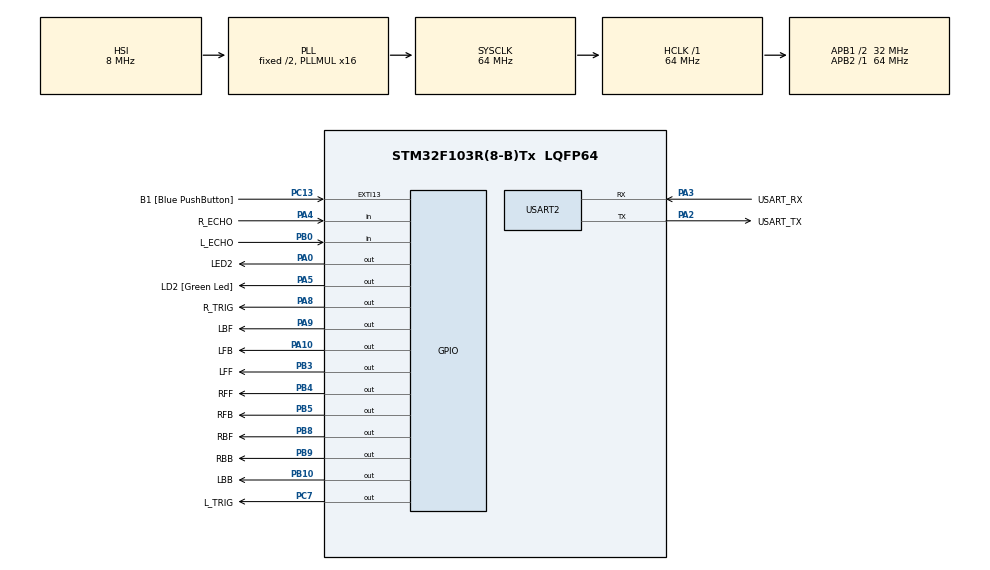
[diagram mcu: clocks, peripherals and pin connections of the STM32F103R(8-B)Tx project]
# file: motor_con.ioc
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Mcu.Family=STM32F1
Mcu.Name=STM32F103R(8-B)Tx
Mcu.Package=LQFP64
NVIC.EXTI15_10_IRQn=true\:0\:0\:false\:false\:true\:true\:true\:true
NVIC.PriorityGroup=NVIC_PRIORITYGROUP_4
PA0-WKUP.GPIO_Label=LED2
PA0-WKUP.Signal=GPIO_Output
PA10.GPIO_Label=LFB
PA10.Signal=GPIO_Output
PA13.GPIO_Label=TMS
PA13.Mode=Serial_Wire
PA13.Signal=SYS_JTMS-SWDIO
PA14.GPIO_Label=TCK
PA14.Mode=Serial_Wire
PA14.Signal=SYS_JTCK-SWCLK
PA2.GPIO_Label=USART_TX
PA2.GPIO_Mode=GPIO_MODE_AF_PP
PA2.GPIO_PuPd=GPIO_NOPULL
PA2.GPIO_Speed=GPIO_SPEED_FREQ_LOW
PA2.Mode=Asynchronous
PA2.Signal=USART2_TX
PA3.GPIO_Label=USART_RX
PA3.GPIO_Mode=GPIO_MODE_AF_PP
PA3.GPIO_PuPd=GPIO_NOPULL
PA3.GPIO_Speed=GPIO_SPEED_FREQ_LOW
PA3.Mode=Asynchronous
PA3.Signal=USART2_RX
PA4.GPIO_Label=R_ECHO
PA4.Signal=GPIO_Input
PA5.GPIO_Label=LD2 [Green Led]
PA5.GPIO_ModeDefaultOutputPP=GPIO_MODE_OUTPUT_PP
PA5.GPIO_PuPd=GPIO_NOPULL
PA5.GPIO_Speed=GPIO_SPEED_FREQ_LOW
PA5.Signal=GPIO_Output
PA8.GPIO_Label=R_TRIG
PA8.Signal=GPIO_Output
PA9.GPIO_Label=LBF
PA9.Signal=GPIO_Output
PB0.GPIO_Label=L_ECHO
PB0.Signal=GPIO_Input
PB10.GPIO_Label=LBB
PB10.Signal=GPIO_Output
PB3.GPIO_Label=LFF
PB3.Signal=GPIO_Output
PB4.GPIO_Label=RFF
PB4.Signal=GPIO_Output
PB5.GPIO_Label=RFB
PB5.Signal=GPIO_Output
PB8.GPIO_Label=RBF
PB8.Signal=GPIO_Output
PB9.GPIO_Label=RBB
PB9.Signal=GPIO_Output
PC13-TAMPER-RTC.GPIO_Label=B1 [Blue PushButton]
PC13-TAMPER-RTC.GPIO_PuPd=GPIO_NOPULL
PC13-TAMPER-RTC.Signal=GPXTI13
PC14-OSC32_IN.Signal=RCC_OSC32_IN
PC15-OSC32_OUT.Signal=RCC_OSC32_OUT
PC7.GPIO_Label=L_TRIG
PC7.Signal=GPIO_Output
PD0-OSC_IN.Signal=RCC_OSC_IN
PD1-OSC_OUT.Signal=RCC_OSC_OUT
ProjectManager.HeapSize=0x200
ProjectManager.StackSize=0x400
ProjectManager.TargetToolchain=STM32CubeIDE
RCC.AHBFreq_Value=64000000
RCC.APB1CLKDivider=RCC_HCLK_DIV2
RCC.APB1Freq_Value=32000000
RCC.APB1TimFreq_Value=64000000
RCC.APB2Freq_Value=64000000
RCC.APB2TimFreq_Value=64000000
RCC.HCLKFreq_Value=64000000
RCC.PLLMUL=RCC_PLL_MUL16
RCC.RTCClockSelection=RCC_RTCCLKSOURCE_LSE
RCC.SYSCLKFreq_VALUE=64000000
RCC.SYSCLKSource=RCC_SYSCLKSOURCE_PLLCLK
RCC.USBFreq_Value=64000000
TIM1.Prescaler=64-1
USART2.VirtualMode=VM_ASYNC
VP_TIM1_VS_ClockSourceINT.Mode=Internal
board=NUCLEO-F103RB

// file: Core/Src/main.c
/* USER CODE BEGIN Header */
/**
  ******************************************************************************
  * @file           : main.c
  * @brief          : Main program body
  ******************************************************************************
  * @attention
  *
  * Copyright (c) 2025 STMicroelectronics.
  * All rights reserved.
  *
  * This software is licensed under terms that can be found in the LICENSE file
  * in the root directory of this software component.
  * If no LICENSE file comes with this software, it is provided AS-IS.
  *
  ******************************************************************************
  */
/* USER CODE END Header */
#include "main.h"

TIM_HandleTypeDef htim1;

UART_HandleTypeDef huart2;

/* USER CODE BEGIN PV */
int stack[10];
uint8_t transmit[256];
uint8_t receive;
int L_echo_time = 0;
int R_echo_time = 0;
int L_dist = 0;
int R_dist = 0;
int HIGH = 1;
int LOW = 0;
/* USER CODE END PV */

void SystemClock_Config(void);
static void MX_GPIO_Init(void);
static void MX_USART2_UART_Init(void);
static void MX_TIM1_Init(void);

/* USER CODE BEGIN 0 */
#ifdef __GNUC__
#define PUTCHAR_PROTOTYPE int __io_putchar(int ch)
#else
#define PUTCHAR_PROTOTYPE int fputc(int ch, FILE *f)
#endif

PUTCHAR_PROTOTYPE
{
	if(ch == '\n')
		HAL_UART_Transmit(&huart2, (uint8_t *)"\r", 1, 0xFFFF);
		HAL_UART_Transmit(&huart2, (uint8_t *)&ch, 1, 0xFFFF);

		return ch;
}

void smartcar_F(void)
{
	HAL_GPIO_WritePin(LFB_GPIO_Port, LFB_Pin, 0);
	HAL_GPIO_WritePin(LBB_GPIO_Port, LBB_Pin, 0);
	HAL_GPIO_WritePin(RFB_GPIO_Port, RFB_Pin, 0);
	HAL_GPIO_WritePin(RBB_GPIO_Port, RBB_Pin, 0);
	HAL_GPIO_WritePin(LFF_GPIO_Port, LFF_Pin, 1);
	HAL_GPIO_WritePin(LBF_GPIO_Port, LBF_Pin, 1);
	HAL_GPIO_WritePin(RFF_GPIO_Port, RFF_Pin, 1);
	HAL_GPIO_WritePin(RBF_GPIO_Port, RBF_Pin, 1);
}

void smartcar_B(void)
{
	HAL_GPIO_WritePin(LFF_GPIO_Port, LFF_Pin, 0);
	HAL_GPIO_WritePin(LBF_GPIO_Port, LBF_Pin, 0);
	HAL_GPIO_WritePin(RFF_GPIO_Port, RFF_Pin, 0);
	HAL_GPIO_WritePin(RBF_GPIO_Port, RBF_Pin, 0);
	HAL_GPIO_WritePin(LFB_GPIO_Port, LFB_Pin, 1);
	HAL_GPIO_WritePin(LBB_GPIO_Port, LBB_Pin, 1);
	HAL_GPIO_WritePin(RFB_GPIO_Port, RFB_Pin, 1);
	HAL_GPIO_WritePin(RBB_GPIO_Port, RBB_Pin, 1);
}

void smartcar_S(void)
{
	HAL_GPIO_WritePin(LFB_GPIO_Port, LFB_Pin, 0);
	HAL_GPIO_WritePin(LBB_GPIO_Port, LBB_Pin, 0);
	HAL_GPIO_WritePin(RFB_GPIO_Port, RFB_Pin, 0);
	HAL_GPIO_WritePin(RBB_GPIO_Port, RBB_Pin, 0);
	HAL_GPIO_WritePin(LFF_GPIO_Port, LFF_Pin, 0);
	HAL_GPIO_WritePin(LBF_GPIO_Port, LBF_Pin, 0);
	HAL_GPIO_WritePin(RFF_GPIO_Port, RFF_Pin, 0);
	HAL_GPIO_WritePin(RBF_GPIO_Port, RBF_Pin, 0);
}

void smartcar_FL(void)
{
	HAL_GPIO_WritePin(LFB_GPIO_Port, LFB_Pin, 1);
	HAL_GPIO_WritePin(LBB_GPIO_Port, LBB_Pin, 1);
	HAL_GPIO_WritePin(RFB_GPIO_Port, RFB_Pin, 0);
	HAL_GPIO_WritePin(RBB_GPIO_Port, RBB_Pin, 0);
	HAL_GPIO_WritePin(LFF_GPIO_Port, LFF_Pin, 0);
	HAL_GPIO_WritePin(LBF_GPIO_Port, LBF_Pin, 0);
	HAL_GPIO_WritePin(RFF_GPIO_Port, RFF_Pin, 1);
	HAL_GPIO_WritePin(RBF_GPIO_Port, RBF_Pin, 1);
}

void smartcar_FR(void)
{
	HAL_GPIO_WritePin(LFB_GPIO_Port, LFB_Pin, 0);
	HAL_GPIO_WritePin(LBB_GPIO_Port, LBB_Pin, 0);
	HAL_GPIO_WritePin(RFB_GPIO_Port, RFB_Pin, 1);
	HAL_GPIO_WritePin(RBB_GPIO_Port, RBB_Pin, 1);
	HAL_GPIO_WritePin(LFF_GPIO_Port, LFF_Pin, 1);
	HAL_GPIO_WritePin(LBF_GPIO_Port, LBF_Pin, 1);
	HAL_GPIO_WritePin(RFF_GPIO_Port, RFF_Pin, 0);
	HAL_GPIO_WritePin(RBF_GPIO_Port, RBF_Pin, 0);
}

void timer_start(void)
{
   HAL_TIM_Base_Start(&htim1);
   sprintf((char*)transmit, "=== HC-SR04 TEST===\r\n");
   HAL_UART_Transmit(&huart2, transmit, strlen((char *)transmit), 1000);
}

void delay_us(uint16_t us)
{
   __HAL_TIM_SET_COUNTER(&htim1, 0); // initislize counter to start from 0
   while((__HAL_TIM_GET_COUNTER(&htim1))<us); // wait count until us
}

void L_trig(void)
{
   HAL_GPIO_WritePin(L_TRIG_GPIO_Port, L_TRIG_Pin, HIGH);
   delay_us(10);
   HAL_GPIO_WritePin(L_TRIG_GPIO_Port, L_TRIG_Pin, LOW);
}

long unsigned int L_echo(void)
{
    long unsigned int echo = 0;

    while(HAL_GPIO_ReadPin(L_ECHO_GPIO_Port, L_ECHO_Pin) == LOW){}
         __HAL_TIM_SET_COUNTER(&htim1, 0);
         while(HAL_GPIO_ReadPin(L_ECHO_GPIO_Port, L_ECHO_Pin) == HIGH);
         echo = __HAL_TIM_GET_COUNTER(&htim1);
    if( echo >= 240 && echo <= 23000 ) return echo;
    else return 0;
}

void R_trig(void)
{
   HAL_GPIO_WritePin(R_TRIG_GPIO_Port, R_TRIG_Pin, HIGH);
   delay_us(10);
   HAL_GPIO_WritePin(R_TRIG_GPIO_Port, R_TRIG_Pin, LOW);
}

long unsigned int R_echo(void)
{
    long unsigned int echo = 0;

    while(HAL_GPIO_ReadPin(R_ECHO_GPIO_Port, R_ECHO_Pin) == LOW){}
         __HAL_TIM_SET_COUNTER(&htim1, 0);
         while(HAL_GPIO_ReadPin(R_ECHO_GPIO_Port, R_ECHO_Pin) == HIGH);
         echo = __HAL_TIM_GET_COUNTER(&htim1);
    if( echo >= 240 && echo <= 23000 ) return echo;
    else return 0;
}

void L_ultrasonic(void)
{
	L_trig();
	L_echo_time = L_echo();
	if(L_echo_time != 0)
	{
		L_dist = (int)(17 * L_echo_time / 100);
		printf("L_Distance = %d(mm)\n\r\n", L_dist);
	}
	else
		printf("Out of Range!\n\r\n");

}

void R_ultrasonic(void)
{
	R_trig();
	R_echo_time = R_echo();
	if(R_echo_time != 0)
	{
		R_dist = (int)(17 * R_echo_time / 100);
		printf("R_Distance = %d(mm)\n\r\n", R_dist);
	}
	else
		printf("Out of Range!\n\r\n");

}
/* USER CODE END 0 */

int main(void)
{

  /* MCU Configuration--------------------------------------------------------*/

  /* Reset of all peripherals, Initializes the Flash interface and the Systick. */
  HAL_Init();

  /* Configure the system clock */
  SystemClock_Config();

  /* Initialize all configured peripherals */
  MX_GPIO_Init();
  MX_USART2_UART_Init();
  MX_TIM1_Init();
  /* USER CODE BEGIN 2 */
  timer_start();
  printf("=== RC CAR Test ===\r\n");
  /* USER CODE END 2 */

  /* Infinite loop */
  while (1)
  {

    /* USER CODE BEGIN 3 */
	  printf("=== Enter your word ===\r\n\r\n");
	  HAL_UART_Receive(&huart2, &receive, 1, 0);
	  L_ultrasonic();
	  R_ultrasonic();

	  if(receive == 'W')
	  {
		  printf("\r\n");
		  HAL_GPIO_WritePin(LD2_GPIO_Port, LD2_Pin, 1);
		  sprintf((char *)transmit, "GO\n\r\n");
		  HAL_UART_Transmit(&huart2, &transmit, strlen((char *)transmit), 100);
		  smartcar_F();

	  }

	  if(receive == 'S')
	  {
		  printf("\r\n");
		  HAL_GPIO_WritePin(LD2_GPIO_Port, LD2_Pin, 1);
		  sprintf((char *)transmit, "BACK\n\r\n");
		  HAL_UART_Transmit(&huart2, &transmit, strlen((char *)transmit), 100);
		  smartcar_B();
	  }

	  if(receive == 'A')
	  {
		  printf("\r\n");
		  HAL_GPIO_WritePin(LD2_GPIO_Port, LD2_Pin, 1);
		  sprintf((char *)transmit, "F_LEFT\n\r\n");
		  HAL_UART_Transmit(&huart2, &transmit, strlen((char *)transmit), 100);
		  smartcar_FL();
	  }

	  if(receive == 'D')
	  {
		  printf("\r\n");
		  HAL_GPIO_WritePin(LD2_GPIO_Port, LD2_Pin, 1);
		  sprintf((char *)transmit, "F_RIGHT\n\r\n");
		  HAL_UART_Transmit(&huart2, &transmit, strlen((char *)transmit), 100);
		  smartcar_FR();
	  }

	  if(receive == 'P')
	  {
		  printf("\r\n");
		  HAL_GPIO_WritePin(LD2_GPIO_Port, LD2_Pin, 0);
		  sprintf((char *)transmit, "OFF\n\r\n");
		  HAL_UART_Transmit(&huart2, &transmit, strlen((char *)transmit), 100);
		  smartcar_S();
	  }
  }
  /* USER CODE END 3 */
}

void SystemClock_Config(void)
{
  RCC_OscInitTypeDef RCC_OscInitStruct = {0};
  RCC_ClkInitTypeDef RCC_ClkInitStruct = {0};

  /** Initializes the RCC Oscillators according to the specified parameters
  * in the RCC_OscInitTypeDef structure.
  */
  RCC_OscInitStruct.OscillatorType = RCC_OSCILLATORTYPE_HSI;
  RCC_OscInitStruct.HSIState = RCC_HSI_ON;
  RCC_OscInitStruct.HSICalibrationValue = RCC_HSICALIBRATION_DEFAULT;
  RCC_OscInitStruct.PLL.PLLState = RCC_PLL_ON;
  RCC_OscInitStruct.PLL.PLLSource = RCC_PLLSOURCE_HSI_DIV2;
  RCC_OscInitStruct.PLL.PLLMUL = RCC_PLL_MUL16;
  if (HAL_RCC_OscConfig(&RCC_OscInitStruct) != HAL_OK)
  {
    Error_Handler();
  }

  /** Initializes the CPU, AHB and APB buses clocks
  */
  RCC_ClkInitStruct.ClockType = RCC_CLOCKTYPE_HCLK|RCC_CLOCKTYPE_SYSCLK
                              |RCC_CLOCKTYPE_PCLK1|RCC_CLOCKTYPE_PCLK2;
  RCC_ClkInitStruct.SYSCLKSource = RCC_SYSCLKSOURCE_PLLCLK;
  RCC_ClkInitStruct.AHBCLKDivider = RCC_SYSCLK_DIV1;
  RCC_ClkInitStruct.APB1CLKDivider = RCC_HCLK_DIV2;
  RCC_ClkInitStruct.APB2CLKDivider = RCC_HCLK_DIV1;

  if (HAL_RCC_ClockConfig(&RCC_ClkInitStruct, FLASH_LATENCY_2) != HAL_OK)
  {
    Error_Handler();
  }
}

static void MX_TIM1_Init(void)
{

  TIM_ClockConfigTypeDef sClockSourceConfig = {0};
  TIM_MasterConfigTypeDef sMasterConfig = {0};

  htim1.Instance = TIM1;
  htim1.Init.Prescaler = 64-1;
  htim1.Init.CounterMode = TIM_COUNTERMODE_UP;
  htim1.Init.Period = 65535;
  htim1.Init.ClockDivision = TIM_CLOCKDIVISION_DIV1;
  htim1.Init.RepetitionCounter = 0;
  htim1.Init.AutoReloadPreload = TIM_AUTORELOAD_PRELOAD_DISABLE;
  if (HAL_TIM_Base_Init(&htim1) != HAL_OK)
  {
    Error_Handler();
  }
  sClockSourceConfig.ClockSource = TIM_CLOCKSOURCE_INTERNAL;
  if (HAL_TIM_ConfigClockSource(&htim1, &sClockSourceConfig) != HAL_OK)
  {
    Error_Handler();
  }
  sMasterConfig.MasterOutputTrigger = TIM_TRGO_RESET;
  sMasterConfig.MasterSlaveMode = TIM_MASTERSLAVEMODE_DISABLE;
  if (HAL_TIMEx_MasterConfigSynchronization(&htim1, &sMasterConfig) != HAL_OK)
  {
    Error_Handler();
  }

}

static void MX_USART2_UART_Init(void)
{

  huart2.Instance = USART2;
  huart2.Init.BaudRate = 115200;
  huart2.Init.WordLength = UART_WORDLENGTH_8B;
  huart2.Init.StopBits = UART_STOPBITS_1;
  huart2.Init.Parity = UART_PARITY_NONE;
  huart2.Init.Mode = UART_MODE_TX_RX;
  huart2.Init.HwFlowCtl = UART_HWCONTROL_NONE;
  huart2.Init.OverSampling = UART_OVERSAMPLING_16;
  if (HAL_UART_Init(&huart2) != HAL_OK)
  {
    Error_Handler();
  }

}

static void MX_GPIO_Init(void)
{
  GPIO_InitTypeDef GPIO_InitStruct = {0};

  /* GPIO Ports Clock Enable */
  __HAL_RCC_GPIOC_CLK_ENABLE();
  __HAL_RCC_GPIOD_CLK_ENABLE();
  __HAL_RCC_GPIOA_CLK_ENABLE();
  __HAL_RCC_GPIOB_CLK_ENABLE();

  /*Configure GPIO pin Output Level */
  HAL_GPIO_WritePin(GPIOA, LED2_Pin|LD2_Pin|R_TRIG_Pin|LBF_Pin
                          |LFB_Pin, GPIO_PIN_RESET);

  /*Configure GPIO pin Output Level */
  HAL_GPIO_WritePin(GPIOB, LBB_Pin|LFF_Pin|RFF_Pin|RFB_Pin
                          |RBF_Pin|RBB_Pin, GPIO_PIN_RESET);

  /*Configure GPIO pin Output Level */
  HAL_GPIO_WritePin(L_TRIG_GPIO_Port, L_TRIG_Pin, GPIO_PIN_RESET);

  /*Configure GPIO pin : B1_Pin */
  GPIO_InitStruct.Pin = B1_Pin;
  GPIO_InitStruct.Mode = GPIO_MODE_IT_RISING;
  GPIO_InitStruct.Pull = GPIO_NOPULL;
  HAL_GPIO_Init(B1_GPIO_Port, &GPIO_InitStruct);

  /*Configure GPIO pins : LED2_Pin LD2_Pin R_TRIG_Pin LBF_Pin
                           LFB_Pin */
  GPIO_InitStruct.Pin = LED2_Pin|LD2_Pin|R_TRIG_Pin|LBF_Pin
                          |LFB_Pin;
  GPIO_InitStruct.Mode = GPIO_MODE_OUTPUT_PP;
  GPIO_InitStruct.Pull = GPIO_NOPULL;
  GPIO_InitStruct.Speed = GPIO_SPEED_FREQ_LOW;
  HAL_GPIO_Init(GPIOA, &GPIO_InitStruct);

  /*Configure GPIO pin : R_ECHO_Pin */
  GPIO_InitStruct.Pin = R_ECHO_Pin;
  GPIO_InitStruct.Mode = GPIO_MODE_INPUT;
  GPIO_InitStruct.Pull = GPIO_NOPULL;
  HAL_GPIO_Init(R_ECHO_GPIO_Port, &GPIO_InitStruct);

  /*Configure GPIO pin : L_ECHO_Pin */
  GPIO_InitStruct.Pin = L_ECHO_Pin;
  GPIO_InitStruct.Mode = GPIO_MODE_INPUT;
  GPIO_InitStruct.Pull = GPIO_NOPULL;
  HAL_GPIO_Init(L_ECHO_GPIO_Port, &GPIO_InitStruct);

  /*Configure GPIO pins : LBB_Pin LFF_Pin RFF_Pin RFB_Pin
                           RBF_Pin RBB_Pin */
  GPIO_InitStruct.Pin = LBB_Pin|LFF_Pin|RFF_Pin|RFB_Pin
                          |RBF_Pin|RBB_Pin;
  GPIO_InitStruct.Mode = GPIO_MODE_OUTPUT_PP;
  GPIO_InitStruct.Pull = GPIO_NOPULL;
  GPIO_InitStruct.Speed = GPIO_SPEED_FREQ_LOW;
  HAL_GPIO_Init(GPIOB, &GPIO_InitStruct);

  /*Configure GPIO pin : L_TRIG_Pin */
  GPIO_InitStruct.Pin = L_TRIG_Pin;
  GPIO_InitStruct.Mode = GPIO_MODE_OUTPUT_PP;
  GPIO_InitStruct.Pull = GPIO_NOPULL;
  GPIO_InitStruct.Speed = GPIO_SPEED_FREQ_LOW;
  HAL_GPIO_Init(L_TRIG_GPIO_Port, &GPIO_InitStruct);

  /* EXTI interrupt init*/
  HAL_NVIC_SetPriority(EXTI15_10_IRQn, 0, 0);
  HAL_NVIC_EnableIRQ(EXTI15_10_IRQn);

}

void Error_Handler(void)
{
  __disable_irq();
  while (1)
  {
  }
}
